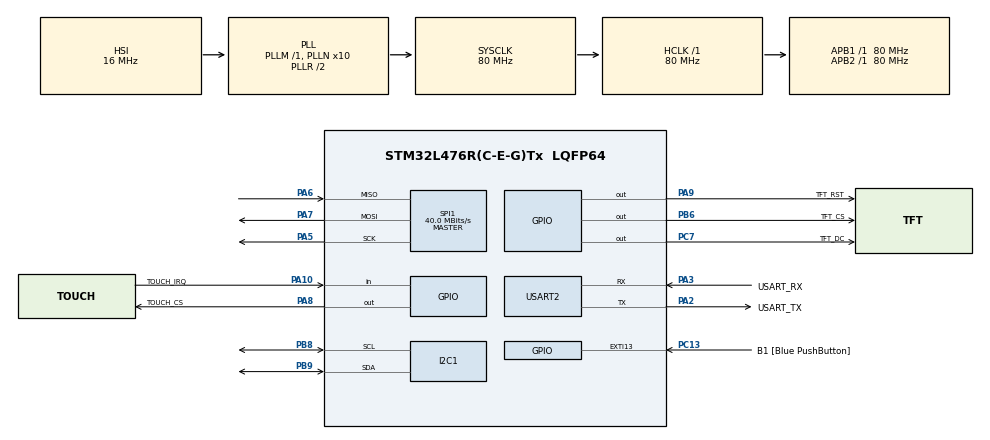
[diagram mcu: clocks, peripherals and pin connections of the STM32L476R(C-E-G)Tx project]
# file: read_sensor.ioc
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I2C1.Timing=0x10D19CE4
Mcu.Family=STM32L4
Mcu.Name=STM32L476R(C-E-G)Tx
Mcu.Package=LQFP64
NVIC.PriorityGroup=NVIC_PRIORITYGROUP_4
PA10.GPIO_Label=TOUCH_IRQ
PA10.GPIO_PuPd=GPIO_PULLUP
PA10.Signal=GPIO_Input
PA13\ (JTMS-SWDIO).GPIO_Label=TMS
PA13\ (JTMS-SWDIO).Signal=SYS_JTMS-SWDIO
PA14\ (JTCK-SWCLK).GPIO_Label=TCK
PA14\ (JTCK-SWCLK).Signal=SYS_JTCK-SWCLK
PA2.GPIO_Label=USART_TX
PA2.GPIO_Mode=GPIO_MODE_AF_PP
PA2.GPIO_PuPd=GPIO_NOPULL
PA2.GPIO_Speed=GPIO_SPEED_FREQ_VERY_HIGH
PA2.Mode=Asynchronous
PA2.Signal=USART2_TX
PA3.GPIO_Label=USART_RX
PA3.GPIO_Mode=GPIO_MODE_AF_PP
PA3.GPIO_PuPd=GPIO_NOPULL
PA3.GPIO_Speed=GPIO_SPEED_FREQ_VERY_HIGH
PA3.Mode=Asynchronous
PA3.Signal=USART2_RX
PA5.Mode=Full_Duplex_Master
PA5.Signal=SPI1_SCK
PA6.Mode=Full_Duplex_Master
PA6.Signal=SPI1_MISO
PA7.Mode=Full_Duplex_Master
PA7.Signal=SPI1_MOSI
PA8.GPIO_Label=TOUCH_CS
PA8.PinState=GPIO_PIN_SET
PA8.Signal=GPIO_Output
PA9.GPIO_Label=TFT_RST
PA9.PinState=GPIO_PIN_SET
PA9.Signal=GPIO_Output
PB3\ (JTDO-TRACESWO).GPIO_Label=SWO
PB3\ (JTDO-TRACESWO).Signal=SYS_JTDO-SWO
PB6.GPIO_Label=TFT_CS
PB6.GPIO_Speed=GPIO_SPEED_FREQ_LOW
PB6.PinState=GPIO_PIN_SET
PB6.Signal=GPIO_Output
PB8.Mode=I2C
PB8.Signal=I2C1_SCL
PB9.Mode=I2C
PB9.Signal=I2C1_SDA
PC13.GPIO_Label=B1 [Blue PushButton]
PC13.GPIO_ModeDefaultEXTI=GPIO_MODE_IT_FALLING
PC13.GPIO_PuPd=GPIO_NOPULL
PC13.Signal=GPXTI13
PC14-OSC32_IN\ (PC14).Mode=LSE-External-Oscillator
PC14-OSC32_IN\ (PC14).Signal=RCC_OSC32_IN
PC15-OSC32_OUT\ (PC15).Mode=LSE-External-Oscillator
PC15-OSC32_OUT\ (PC15).Signal=RCC_OSC32_OUT
PC7.GPIO_Label=TFT_DC
PC7.Signal=GPIO_Output
PH0-OSC_IN\ (PH0).Signal=RCC_OSC_IN
PH1-OSC_OUT\ (PH1).Signal=RCC_OSC_OUT
ProjectManager.HeapSize=0x200
ProjectManager.StackSize=0x400
ProjectManager.TargetToolchain=STM32CubeIDE
RCC.ADCFreq_Value=64000000
RCC.AHBFreq_Value=80000000
RCC.APB1Freq_Value=80000000
RCC.APB1TimFreq_Value=80000000
RCC.APB2Freq_Value=80000000
RCC.APB2TimFreq_Value=80000000
RCC.CortexFreq_Value=80000000
RCC.HCLKFreq_Value=80000000
RCC.HSE_VALUE=8000000
RCC.HSI_VALUE=16000000
RCC.MSI_VALUE=4000000
RCC.PLLN=10
RCC.PLLSourceVirtual=RCC_PLLSOURCE_HSI
RCC.PREFETCH_ENABLE=1
RCC.RTCClockSelection=RCC_RTCCLKSOURCE_LSE
RCC.SYSCLKFreq_VALUE=80000000
RCC.SYSCLKSource=RCC_SYSCLKSOURCE_PLLCLK
RCC.USBFreq_Value=64000000
RCC.VCOOutputFreq_Value=160000000
SPI1.CalculateBaudRate=40.0 MBits/s
SPI1.DataSize=SPI_DATASIZE_8BIT
SPI1.Direction=SPI_DIRECTION_2LINES
SPI1.Mode=SPI_MODE_MASTER
SPI1.VirtualType=VM_MASTER
USART2.VirtualMode-Asynchronous=VM_ASYNC
VP_RTC_VS_RTC_Activate.Mode=RTC_Enabled
board=NUCLEO-L476RG

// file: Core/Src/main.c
/* USER CODE BEGIN Header */
/**
  ******************************************************************************
  * @file           : main.c
  * @brief          : Main program body
  ******************************************************************************
  * @attention
  *
  * Copyright (c) 2026 STMicroelectronics.
  * All rights reserved.
  *
  * This software is licensed under terms that can be found in the LICENSE file
  * in the root directory of this software component.
  * If no LICENSE file comes with this software, it is provided AS-IS.
  *
  ******************************************************************************
  */
/* USER CODE END Header */
#include "main.h"
#include "bme280.h"
#include "stats.h"
#include "UI.h"
#include "display.h"
#include "rtc_app.h"
#include "touch.h"
#include "flash_storage.h"
#include <stdio.h>
#include <stdint.h>
#include <string.h>

I2C_HandleTypeDef hi2c1;

RTC_HandleTypeDef hrtc;

SPI_HandleTypeDef hspi1;

UART_HandleTypeDef huart2;

void SystemClock_Config(void);
static void MX_GPIO_Init(void);
static void MX_I2C1_Init(void);
static void MX_USART2_UART_Init(void);
static void MX_SPI1_Init(void);
static void MX_RTC_Init(void);

int main(void)
{

  /* MCU Configuration--------------------------------------------------------*/

  /* Reset of all peripherals, Initializes the Flash interface and the Systick. */
  HAL_Init();

  /* Configure the system clock */
  SystemClock_Config();

  /* Initialize all configured peripherals */
  MX_GPIO_Init();
  MX_I2C1_Init();
  MX_USART2_UART_Init();
  MX_SPI1_Init();
  MX_RTC_Init();
  /* USER CODE BEGIN 2 */

  if(HAL_RTCEx_BKUPRead(&hrtc, RTC_BKP_DR0) != RTC_MAGIC)
  {
	  RTC_TimeTypeDef sTime = {0};
	  RTC_DateTypeDef sDate = {0};

	  sTime.Hours   = 9;
	  sTime.Minutes = 21;
	  sTime.Seconds = 0;

	  sDate.Date  = 28;
	  sDate.Month = 10;
	  sDate.Year  = 26;

	  HAL_RTC_SetTime(&hrtc, &sTime, RTC_FORMAT_BIN);
	  HAL_RTC_SetDate(&hrtc, &sDate, RTC_FORMAT_BIN);

	  HAL_RTCEx_BKUPWrite(&hrtc, RTC_BKP_DR0, RTC_MAGIC);
  }

  RTC_DateTime_t current_time;
  RTC_DateTime_t last_time;

  DailyStats_t daily;

  float temperature;
  float pressure;
  float humidity;

  uint32_t last_measurement = 0;

  HAL_StatusTypeDef status;

  status = BME280_Init();

  if(status != HAL_OK)
  {
      Error_Handler();
  }

  status = display_init();

  if(status != HAL_OK)
  {
      Error_Handler();
  }

  UI_DrawCurrent();

  status = RTC_GetDateTime(&last_time);
	 if(status != HAL_OK){
		 Error_Handler();
	 }

  static UI_View_t current_state = CURRENT_VIEW;
  static UI_HistoryMetric_t current_metric = HISTORY_HUM;

  status = FLASH_Load();
  if(status != HAL_OK)
  {
      const char *msg = "Keine gueltigen Flash-Daten vorhanden\r\n";

      HAL_UART_Transmit(&huart2,
                        (uint8_t *)msg,
                        strlen(msg),
                        100);
  }

  /* USER CODE END 2 */

  /* Infinite loop */
  while (1)
  {

	  if((HAL_GetTick() - last_measurement) >= 1000){

		  last_measurement = HAL_GetTick();
		 status = RTC_GetDateTime(&current_time);
		 if(status != HAL_OK){
			 Error_Handler();
		 }

		 if((current_time.day   != last_time.day)   ||
		    (current_time.month != last_time.month) ||
		    (current_time.year  != last_time.year))
		 {
		     status = CREATE_Daily(&daily);

		     if(status == HAL_OK)
		     {
		         daily.day   = last_time.day;
		         daily.month = last_time.month;
		         daily.year  = last_time.year;

		         status = ADD_Daily(&daily);

		         if(status == HAL_OK)
		         {
		             status = FLASH_Save();

		             if(status != HAL_OK)
		             {
		                 const char *flash_msg = "Flash save failed\r\n";

		                 HAL_UART_Transmit(&huart2, (uint8_t *)flash_msg, strlen(flash_msg),100);
		             }

		             STATS_Reset();
		         }
		     }
		 }

		 last_time = current_time;

		 status = BME280_ReadMesurements(&temperature,&pressure,&humidity);
		  if(status != HAL_OK){
			  continue;
		  }

		  status = STATS_UpdateAll(temperature, pressure, humidity);
		  if(status != HAL_OK){
			  continue;
		  }
		  UI_SetMeasurement(temperature, (int)humidity, (int)pressure);
		  if(current_state == CURRENT_VIEW){
			  UI_DrawValues();
		  }else if(current_state == DAILY_VIEW){
			  UI_DrawDailyValues();
		  }else if(current_state == HISTORY_VIEW)
		  {
		      UI_DrawHistoryValues(current_metric);
		  }
	  }

	  if(TOUCH_WasPressed())
	  {
	      uint16_t x;
	      uint16_t y;

	      if(TOUCH_Read(&x, &y) == HAL_OK)
	      {

	          if(y >= 210 && y < 240)
	          {
	              if(x <= 105)
	              {
	                  current_state = CURRENT_VIEW;
	                  UI_DrawCurrent();
	              }
	              else if(x <= 211)
	              {
	                  current_state = DAILY_VIEW;
	                  UI_DrawDailyStatic();
	              }
	              else
	              {
	                  current_state = HISTORY_VIEW;
	                  UI_DrawHistoryStatic();
	                  UI_DrawHistoryValues(current_metric);
	              }
	          }

	          else if(current_state == HISTORY_VIEW &&
	                  y < 30)
	          {
	              if(x <= 105)
	              {
	                  current_metric = HISTORY_HUM;

	              }
	              else if(x <= 211)
	              {
	                  current_metric = HISTORY_TEMP;

	              }
	              else
	              {
	                  current_metric = HISTORY_PRESS;

	              }

	              char debug[64];

	              UI_DrawHistoryStatic();

	              UI_DrawHistoryValues(current_metric);
	          }
	      }
	  }

  }
}

void SystemClock_Config(void)
{
  RCC_OscInitTypeDef RCC_OscInitStruct = {0};
  RCC_ClkInitTypeDef RCC_ClkInitStruct = {0};

  /** Configure the main internal regulator output voltage
  */
  if (HAL_PWREx_ControlVoltageScaling(PWR_REGULATOR_VOLTAGE_SCALE1) != HAL_OK)
  {
    Error_Handler();
  }

  /** Configure LSE Drive Capability
  */
  HAL_PWR_EnableBkUpAccess();
  __HAL_RCC_LSEDRIVE_CONFIG(RCC_LSEDRIVE_LOW);

  /** Initializes the RCC Oscillators according to the specified parameters
  * in the RCC_OscInitTypeDef structure.
  */
  RCC_OscInitStruct.OscillatorType = RCC_OSCILLATORTYPE_HSI|RCC_OSCILLATORTYPE_LSE;
  RCC_OscInitStruct.LSEState = RCC_LSE_ON;
  RCC_OscInitStruct.HSIState = RCC_HSI_ON;
  RCC_OscInitStruct.HSICalibrationValue = RCC_HSICALIBRATION_DEFAULT;
  RCC_OscInitStruct.PLL.PLLState = RCC_PLL_ON;
  RCC_OscInitStruct.PLL.PLLSource = RCC_PLLSOURCE_HSI;
  RCC_OscInitStruct.PLL.PLLM = 1;
  RCC_OscInitStruct.PLL.PLLN = 10;
  RCC_OscInitStruct.PLL.PLLP = RCC_PLLP_DIV7;
  RCC_OscInitStruct.PLL.PLLQ = RCC_PLLQ_DIV2;
  RCC_OscInitStruct.PLL.PLLR = RCC_PLLR_DIV2;
  if (HAL_RCC_OscConfig(&RCC_OscInitStruct) != HAL_OK)
  {
    Error_Handler();
  }

  /** Initializes the CPU, AHB and APB buses clocks
  */
  RCC_ClkInitStruct.ClockType = RCC_CLOCKTYPE_HCLK|RCC_CLOCKTYPE_SYSCLK
                              |RCC_CLOCKTYPE_PCLK1|RCC_CLOCKTYPE_PCLK2;
  RCC_ClkInitStruct.SYSCLKSource = RCC_SYSCLKSOURCE_PLLCLK;
  RCC_ClkInitStruct.AHBCLKDivider = RCC_SYSCLK_DIV1;
  RCC_ClkInitStruct.APB1CLKDivider = RCC_HCLK_DIV1;
  RCC_ClkInitStruct.APB2CLKDivider = RCC_HCLK_DIV1;

  if (HAL_RCC_ClockConfig(&RCC_ClkInitStruct, FLASH_LATENCY_4) != HAL_OK)
  {
    Error_Handler();
  }
}

static void MX_I2C1_Init(void)
{

  hi2c1.Instance = I2C1;
  hi2c1.Init.Timing = 0x10D19CE4;
  hi2c1.Init.OwnAddress1 = 0;
  hi2c1.Init.AddressingMode = I2C_ADDRESSINGMODE_7BIT;
  hi2c1.Init.DualAddressMode = I2C_DUALADDRESS_DISABLE;
  hi2c1.Init.OwnAddress2 = 0;
  hi2c1.Init.OwnAddress2Masks = I2C_OA2_NOMASK;
  hi2c1.Init.GeneralCallMode = I2C_GENERALCALL_DISABLE;
  hi2c1.Init.NoStretchMode = I2C_NOSTRETCH_DISABLE;
  if (HAL_I2C_Init(&hi2c1) != HAL_OK)
  {
    Error_Handler();
  }

  /** Configure Analogue filter
  */
  if (HAL_I2CEx_ConfigAnalogFilter(&hi2c1, I2C_ANALOGFILTER_ENABLE) != HAL_OK)
  {
    Error_Handler();
  }

  /** Configure Digital filter
  */
  if (HAL_I2CEx_ConfigDigitalFilter(&hi2c1, 0) != HAL_OK)
  {
    Error_Handler();
  }

}

static void MX_RTC_Init(void)
{

  /** Initialize RTC Only
  */
  hrtc.Instance = RTC;
  hrtc.Init.HourFormat = RTC_HOURFORMAT_24;
  hrtc.Init.AsynchPrediv = 127;
  hrtc.Init.SynchPrediv = 255;
  hrtc.Init.OutPut = RTC_OUTPUT_DISABLE;
  hrtc.Init.OutPutRemap = RTC_OUTPUT_REMAP_NONE;
  hrtc.Init.OutPutPolarity = RTC_OUTPUT_POLARITY_HIGH;
  hrtc.Init.OutPutType = RTC_OUTPUT_TYPE_OPENDRAIN;
  if (HAL_RTC_Init(&hrtc) != HAL_OK)
  {
    Error_Handler();
  }

}

static void MX_SPI1_Init(void)
{

  /* SPI1 parameter configuration*/
  hspi1.Instance = SPI1;
  hspi1.Init.Mode = SPI_MODE_MASTER;
  hspi1.Init.Direction = SPI_DIRECTION_2LINES;
  hspi1.Init.DataSize = SPI_DATASIZE_8BIT;
  hspi1.Init.CLKPolarity = SPI_POLARITY_LOW;
  hspi1.Init.CLKPhase = SPI_PHASE_1EDGE;
  hspi1.Init.NSS = SPI_NSS_SOFT;
  hspi1.Init.BaudRatePrescaler = SPI_BAUDRATEPRESCALER_32;
  hspi1.Init.FirstBit = SPI_FIRSTBIT_MSB;
  hspi1.Init.TIMode = SPI_TIMODE_DISABLE;
  hspi1.Init.CRCCalculation = SPI_CRCCALCULATION_DISABLE;
  hspi1.Init.CRCPolynomial = 7;
  hspi1.Init.CRCLength = SPI_CRC_LENGTH_DATASIZE;
  hspi1.Init.NSSPMode = SPI_NSS_PULSE_ENABLE;
  if (HAL_SPI_Init(&hspi1) != HAL_OK)
  {
    Error_Handler();
  }

}

static void MX_USART2_UART_Init(void)
{

  huart2.Instance = USART2;
  huart2.Init.BaudRate = 115200;
  huart2.Init.WordLength = UART_WORDLENGTH_8B;
  huart2.Init.StopBits = UART_STOPBITS_1;
  huart2.Init.Parity = UART_PARITY_NONE;
  huart2.Init.Mode = UART_MODE_TX_RX;
  huart2.Init.HwFlowCtl = UART_HWCONTROL_NONE;
  huart2.Init.OverSampling = UART_OVERSAMPLING_16;
  huart2.Init.OneBitSampling = UART_ONE_BIT_SAMPLE_DISABLE;
  huart2.AdvancedInit.AdvFeatureInit = UART_ADVFEATURE_NO_INIT;
  if (HAL_UART_Init(&huart2) != HAL_OK)
  {
    Error_Handler();
  }

}

static void MX_GPIO_Init(void)
{
  GPIO_InitTypeDef GPIO_InitStruct = {0};

  /* GPIO Ports Clock Enable */
  __HAL_RCC_GPIOC_CLK_ENABLE();
  __HAL_RCC_GPIOH_CLK_ENABLE();
  __HAL_RCC_GPIOA_CLK_ENABLE();
  __HAL_RCC_GPIOB_CLK_ENABLE();

  /*Configure GPIO pin Output Level */
  HAL_GPIO_WritePin(TFT_DC_GPIO_Port, TFT_DC_Pin, GPIO_PIN_RESET);

  /*Configure GPIO pin Output Level */
  HAL_GPIO_WritePin(GPIOA, TOUCH_CS_Pin|TFT_RST_Pin, GPIO_PIN_SET);

  /*Configure GPIO pin Output Level */
  HAL_GPIO_WritePin(TFT_CS_GPIO_Port, TFT_CS_Pin, GPIO_PIN_SET);

  /*Configure GPIO pin : B1_Pin */
  GPIO_InitStruct.Pin = B1_Pin;
  GPIO_InitStruct.Mode = GPIO_MODE_IT_FALLING;
  GPIO_InitStruct.Pull = GPIO_NOPULL;
  HAL_GPIO_Init(B1_GPIO_Port, &GPIO_InitStruct);

  /*Configure GPIO pin : TFT_DC_Pin */
  GPIO_InitStruct.Pin = TFT_DC_Pin;
  GPIO_InitStruct.Mode = GPIO_MODE_OUTPUT_PP;
  GPIO_InitStruct.Pull = GPIO_NOPULL;
  GPIO_InitStruct.Speed = GPIO_SPEED_FREQ_LOW;
  HAL_GPIO_Init(TFT_DC_GPIO_Port, &GPIO_InitStruct);

  /*Configure GPIO pins : TOUCH_CS_Pin TFT_RST_Pin */
  GPIO_InitStruct.Pin = TOUCH_CS_Pin|TFT_RST_Pin;
  GPIO_InitStruct.Mode = GPIO_MODE_OUTPUT_PP;
  GPIO_InitStruct.Pull = GPIO_NOPULL;
  GPIO_InitStruct.Speed = GPIO_SPEED_FREQ_LOW;
  HAL_GPIO_Init(GPIOA, &GPIO_InitStruct);

  /*Configure GPIO pin : TOUCH_IRQ_Pin */
  GPIO_InitStruct.Pin = TOUCH_IRQ_Pin;
  GPIO_InitStruct.Mode = GPIO_MODE_INPUT;
  GPIO_InitStruct.Pull = GPIO_PULLUP;
  HAL_GPIO_Init(TOUCH_IRQ_GPIO_Port, &GPIO_InitStruct);

  /*Configure GPIO pin : TFT_CS_Pin */
  GPIO_InitStruct.Pin = TFT_CS_Pin;
  GPIO_InitStruct.Mode = GPIO_MODE_OUTPUT_PP;
  GPIO_InitStruct.Pull = GPIO_NOPULL;
  GPIO_InitStruct.Speed = GPIO_SPEED_FREQ_LOW;
  HAL_GPIO_Init(TFT_CS_GPIO_Port, &GPIO_InitStruct);

}

void Error_Handler(void)
{
  __disable_irq();
  while (1)
  {
  }
}
